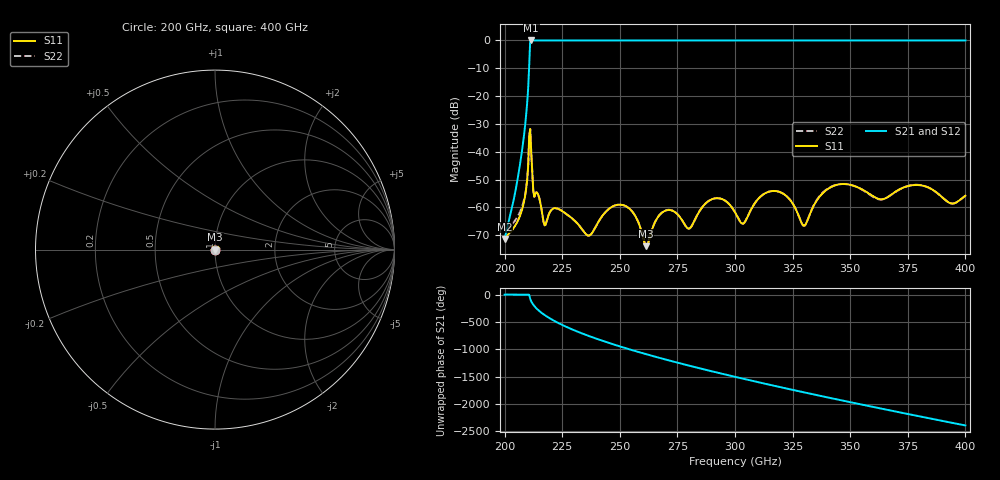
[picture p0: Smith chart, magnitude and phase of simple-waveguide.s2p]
! Touchstone file exported from HFSS 2019.2.0
!  File:  C:/Users/jgarrett/Documents/Ansoft/Examples/WR2_8-waveguide.aedt
!  Generated:  5:18:29 PM  Dec 11, 2019
!  Design:  simple-waveguide
!  Project:  WR2_8-waveguide
!  Setup:  RF
!  Solution:  RFsweep
! Variables:
!  a = 0.711mm
!  b = 0.3555mm
!  wavelength = 1.175mm
!Data is not renormalized
# GHZ S MA
! Modal data exported
! Port[1] = 1:1
! Port[2] = 2:1
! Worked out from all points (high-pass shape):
!   451 points, 200 GHz to 400 GHz, reference per port
!   highest |S21| = 0.00 dB at 211.6 GHz (marker M1); lowest = -71.4 dB at 200 GHz (marker M2)
!   |S21| within 3 dB of the highest: 211 GHz to end of sweep
!   lowest |S11| = -74.0 dB at 261.3 GHz (marker M3), VSWR 1.00
!   |S11| at or under -10 dB: start of sweep to end of sweep
!   |S22| runs from -74.0 to -31.9 dB; largest |S21 - S12| = 2.9e-14
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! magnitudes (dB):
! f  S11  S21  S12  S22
! 200 GHz  -70.8  -71.4  -71.4  -68.3
! 207.6 GHz  -60.9  -39.7  -39.7  -59.8
! 210.7 GHz  -34.5  -9.1  -9.1  -34.9
! 211.6 GHz  -40.2  0.0  0.0  -40.2
! 212.9 GHz  -56.2  0.0  0.0  -56.2
! 217.3 GHz  -66.5  0.0  0.0  -66.5
! 222.7 GHz  -60.4  0.0  0.0  -60.4
! 233.8 GHz  -68.1  0.0  0.0  -68.1
! 251.1 GHz  -59.1  0.0  0.0  -59.1
! 261.3 GHz  -74.0  0.0  0.0  -74.0
! 266.7 GHz  -63.4  0.0  0.0  -63.3
! 280 GHz  -67.6  0.0  0.0  -67.7
! 292 GHz  -56.7  0.0  0.0  -56.7
! 300 GHz  -61.8  0.0  0.0  -61.8
! 303.6 GHz  -65.9  0.0  0.0  -65.9
! 316.4 GHz  -54.1  0.0  0.0  -54.1
! 329.8 GHz  -66.6  0.0  0.0  -66.6
! 333.8 GHz  -60.0  0.0  0.0  -59.9
! 345.3 GHz  -51.7  0.0  0.0  -51.7
! 366.7 GHz  -56.1  0.0  0.0  -56.1
! 378.7 GHz  -52.0  0.0  0.0  -51.9
! 400 GHz  -55.8  0.0  0.0  -55.8
